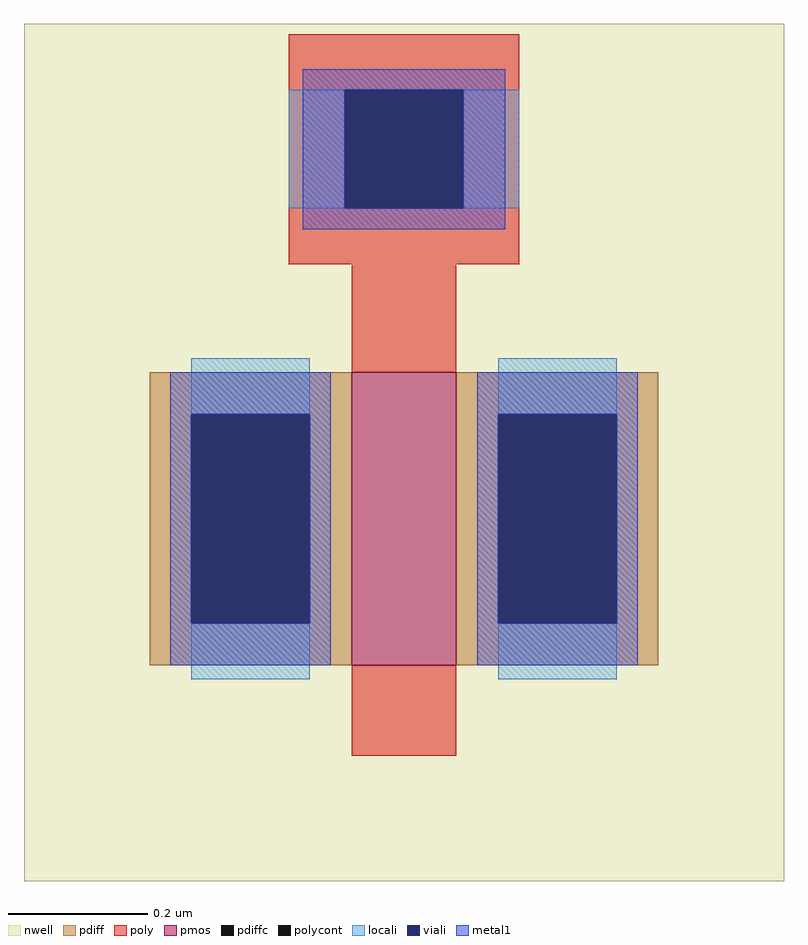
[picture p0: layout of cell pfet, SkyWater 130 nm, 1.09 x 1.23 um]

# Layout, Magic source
magic
tech sky130A
magscale 1 2
<< nwell >>
rect -109 -140 109 106
<< pmos >>
rect -15 -78 15 6
<< pdiff >>
rect -73 -6 -15 6
rect -73 -66 -61 -6
rect -27 -66 -15 -6
rect -73 -78 -15 -66
rect 15 -6 73 6
rect 15 -66 27 -6
rect 61 -66 73 -6
rect 15 -78 73 -66
<< pdiffc >>
rect -61 -66 -27 -6
rect 27 -66 61 -6
<< poly >>
rect -33 87 33 103
rect -33 53 -17 87
rect 17 53 33 87
rect -33 37 33 53
rect -15 6 15 37
rect -15 -104 15 -78
<< polycont >>
rect -17 53 17 87
<< locali >>
rect -33 53 -17 87
rect 17 53 33 87
rect -61 -6 -27 10
rect -61 -82 -27 -66
rect 27 -6 61 10
rect 27 -82 61 -66
<< viali >>
rect -17 53 17 87
rect -61 -66 -27 -6
rect 27 -66 61 -6
<< metal1 >>
rect -29 87 29 93
rect -29 53 -17 87
rect 17 53 29 87
rect -29 47 29 53
rect -67 -6 -21 6
rect -67 -66 -61 -6
rect -27 -66 -21 -6
rect -67 -78 -21 -66
rect 21 -6 67 6
rect 21 -66 27 -6
rect 61 -66 67 -6
rect 21 -78 67 -66
<< end >>
